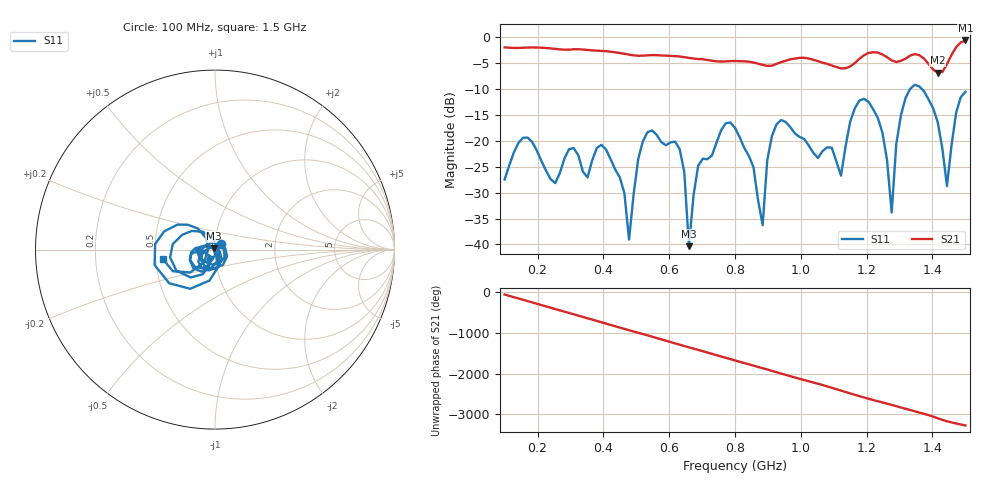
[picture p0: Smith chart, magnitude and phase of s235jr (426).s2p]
! NanoVNA-App
! Date: 2025-09-25 15:07:28
! Start: 100MHz Stop: 1,5GHz Points: 101
! S-Parameter data: F S11 S21 S12 S22
# Hz S RI R 50
!  Frequency  S11_Real  S11_Imag  S21_Real  S21_Imag  S12_Real  S12_Imag  S22_Real  S22_Imag
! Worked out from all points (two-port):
!   101 points, 100 MHz to 1.5 GHz, reference 50 ohm
!   highest |S21| = -0.63 dB at 1.5 GHz (marker M1); lowest = -6.8 dB at 1.416 GHz (marker M2)
!   |S21| within 3 dB of the highest: start of sweep to 609.7 MHz; 1.189 GHz to 1.256 GHz (66.96 MHz wide, 5.48 % of centre) (the widest 2 of 4)
!   lowest |S11| = -40.3 dB at 660 MHz (marker M3), VSWR 1.02, Z = 49.3 + j0.615 ohm
!   |S11| at or under -10 dB: start of sweep to 1.332 GHz; 1.368 GHz to end of sweep
!   S12 and S22 are empty: the file has one direction only
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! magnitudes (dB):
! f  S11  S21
! 100 MHz  -27.5  -2.0
! 156 MHz  -19.4  -2.0
! 338 MHz  -26.0  -2.4
! 408 MHz  -21.7  -2.7
! 478 MHz  -39.1  -3.4
! 520 MHz  -20.1  -3.6
! 576 MHz  -20.2  -3.5
! 632 MHz  -21.6  -3.7
! 660 MHz  -40.3  -4.0
! 688 MHz  -24.8  -4.2
! 800 MHz  -17.5  -4.6
! 884 MHz  -36.3  -5.4
! 926 MHz  -16.8  -5.2
! 1.038 GHz  -22.3  -4.4
! 1.122 GHz  -26.7  -6.0
! 1.206 GHz  -12.5  -3.0
! 1.276 GHz  -33.8  -4.5
! 1.29 GHz  -20.6  -4.8
! 1.332 GHz  -10.0  -3.6
! 1.416 GHz  -16.4  -6.8
! 1.444 GHz  -28.7  -5.2
! 1.5 GHz  -10.6  -0.6
